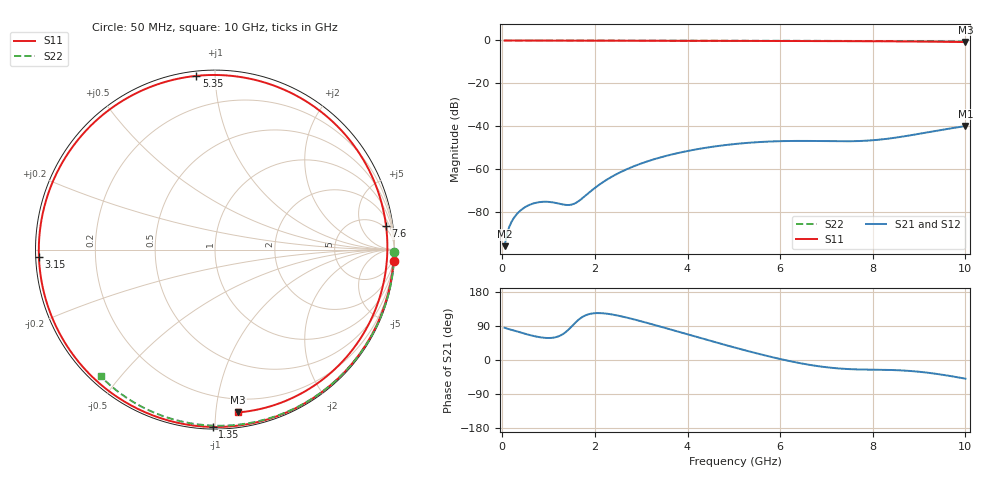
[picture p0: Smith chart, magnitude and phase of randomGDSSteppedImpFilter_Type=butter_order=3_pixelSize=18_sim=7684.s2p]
! freq	dB(S11)	phase(S11)	dB(S12)	phase(S12)
!  dB(S21)	phase(S21)	dB(S22)	phase(S22)
!S-par simulation data
#  GHz  S  DB  R 50
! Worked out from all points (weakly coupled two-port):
!   200 points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, 50 MHz to 10 GHz, reference 50 ohm
!   highest |S21| = -39.96 dB at 10 GHz (marker M1); lowest = -96.0 dB at 50 MHz (marker M2)
!   lowest |S11| = -0.8 dB at 10 GHz (marker M3), VSWR 22.91, Z = 5.07 - j57.4 ohm
!   |S11| at or under -10 dB: nowhere
!   |S22| runs from -0.4 to 0.0 dB; largest |S21 - S12| = 0
!   S11 on the Smith chart (normalised r, x): 50 MHz: 2, -33; 1.35 GHz: 0.01, -0.99; 3.15 GHz: 0.01, -0.02; 5.35 GHz: 0.02, +0.90; 7.6 GHz: 4, +13; 10 GHz: 0.10, -1.15
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0.05  -0.03 -3.5  -96.02 85.1  -96.02 85.1  -0.00 -0.7
0.35  -0.05 -25.2  -80.22 74.2  -80.22 74.2  -0.01 -5.3
0.75  -0.07 -53.0  -75.65 61.4  -75.65 61.4  -0.01 -11.4
1.05  -0.09 -72.5  -75.46 58.3  -75.46 58.3  -0.02 -15.9
1.35  -0.10 -90.8  -76.70 71.8  -76.70 71.8  -0.03 -20.3
1.55  -0.11 -102.2  -76.21 95.1  -76.21 95.1  -0.03 -23.3
1.75  -0.12 -113.0  -73.27 115.0  -73.27 115.0  -0.03 -26.3
2.1  -0.13 -130.9  -67.23 123.8  -67.23 123.8  -0.04 -31.4
2.45  -0.14 -147.4  -62.59 118.3  -62.59 118.3  -0.05 -36.5
3.15  -0.16 -177.7  -56.31 97.1  -56.31 97.1  -0.06 -46.5
3.4  -0.17 172.1  -54.68 88.6  -54.68 88.6  -0.07 -50.0
4.15  -0.19 142.5  -50.98 62.5  -50.98 62.5  -0.08 -60.4
4.6  -0.21 125.1  -49.43 47.0  -49.43 47.0  -0.10 -66.5
5.05  -0.22 107.7  -48.27 31.8  -48.27 31.8  -0.11 -72.4
5.35  -0.23 96.1  -47.71 22.1  -47.71 22.1  -0.12 -76.3
6  -0.26 70.7  -47.01 2.6  -47.01 2.6  -0.15 -84.6
6.7  -0.28 43.2  -46.92 -14.1  -46.92 -14.1  -0.18 -93.3
7.15  -0.31 25.5  -47.04 -21.1  -47.04 -21.1  -0.20 -98.8
7.6  -0.33 7.9  -47.01 -24.6  -47.01 -24.6  -0.23 -104.2
8.35  -0.41 -20.7  -45.79 -26.2  -45.79 -26.2  -0.29 -113.0
9.2  -0.55 -52.3  -42.83 -33.8  -42.83 -33.8  -0.36 -122.9
10  -0.76 -81.9  -39.96 -49.4  -39.96 -49.4  -0.44 -132.0
